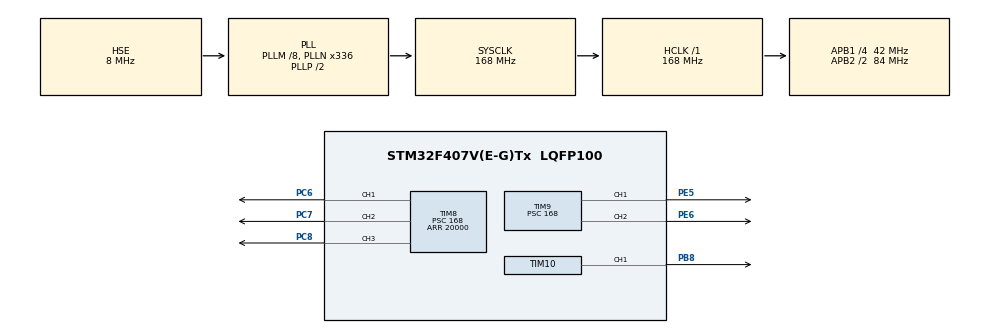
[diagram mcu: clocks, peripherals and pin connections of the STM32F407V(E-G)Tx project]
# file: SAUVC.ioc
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Mcu.Family=STM32F4
Mcu.Name=STM32F407V(E-G)Tx
Mcu.Package=LQFP100
NVIC.PriorityGroup=NVIC_PRIORITYGROUP_0
NVIC.TIM6_DAC_IRQn=true\:0\:0\:false\:false\:true\:true\:true
NVIC.TIM7_IRQn=true\:0\:0\:false\:false\:true\:true\:true
PB8.Signal=S_TIM10_CH1
PC14-OSC32_IN.Mode=LSE-External-Oscillator
PC14-OSC32_IN.Signal=RCC_OSC32_IN
PC15-OSC32_OUT.Mode=LSE-External-Oscillator
PC15-OSC32_OUT.Signal=RCC_OSC32_OUT
PC6.Signal=S_TIM8_CH1
PC7.Signal=S_TIM8_CH2
PC8.Signal=S_TIM8_CH3
PE5.Signal=S_TIM9_CH1
PE6.Signal=S_TIM9_CH2
PH0-OSC_IN.Mode=HSE-External-Oscillator
PH0-OSC_IN.Signal=RCC_OSC_IN
PH1-OSC_OUT.Mode=HSE-External-Oscillator
PH1-OSC_OUT.Signal=RCC_OSC_OUT
ProjectManager.HeapSize=0x200
ProjectManager.StackSize=0x400
ProjectManager.TargetToolchain=STM32CubeIDE
RCC.48MHZClocksFreq_Value=48000000
RCC.AHBFreq_Value=168000000
RCC.APB1CLKDivider=RCC_HCLK_DIV4
RCC.APB1Freq_Value=42000000
RCC.APB1TimFreq_Value=84000000
RCC.APB2CLKDivider=RCC_HCLK_DIV2
RCC.APB2Freq_Value=84000000
RCC.APB2TimFreq_Value=168000000
RCC.CortexFreq_Value=168000000
RCC.HCLKFreq_Value=168000000
RCC.HSE_VALUE=8000000
RCC.HSI_VALUE=16000000
RCC.PLLM=8
RCC.PLLN=336
RCC.PLLQ=7
RCC.PLLSourceVirtual=RCC_PLLSOURCE_HSE
RCC.SYSCLKFreq_VALUE=168000000
RCC.SYSCLKSource=RCC_SYSCLKSOURCE_PLLCLK
RCC.VCOOutputFreq_Value=336000000
SH.S_TIM10_CH1.0=TIM10_CH1,PWM Generation1 CH1
SH.S_TIM8_CH1.0=TIM8_CH1,PWM Generation1 CH1
SH.S_TIM8_CH2.0=TIM8_CH2,PWM Generation2 CH2
SH.S_TIM8_CH3.0=TIM8_CH3,PWM Generation3 CH3
SH.S_TIM9_CH1.0=TIM9_CH1,PWM Generation1 CH1
SH.S_TIM9_CH2.0=TIM9_CH2,PWM Generation2 CH2
TIM10.Channel=TIM_CHANNEL_1
TIM10.Period=20000
TIM10.Prescaler=168
TIM6.Period=1000
TIM6.Prescaler=1679
TIM7.Period=999
TIM7.Prescaler=83
TIM8.Channel-PWM\ Generation1\ CH1=TIM_CHANNEL_1
TIM8.Channel-PWM\ Generation2\ CH2=TIM_CHANNEL_2
TIM8.Channel-PWM\ Generation3\ CH3=TIM_CHANNEL_3
TIM8.Period=20000
TIM8.Prescaler=168
TIM9.Channel-PWM\ Generation1\ CH1=TIM_CHANNEL_1
TIM9.Channel-PWM\ Generation2\ CH2=TIM_CHANNEL_2
TIM9.Period=20000
TIM9.Prescaler=168
VP_TIM10_VS_ClockSourceINT.Mode=Enable_Timer
VP_TIM6_VS_ClockSourceINT.Mode=Enable_Timer
VP_TIM7_VS_ClockSourceINT.Mode=Enable_Timer
VP_TIM8_VS_ClockSourceINT.Mode=Internal
VP_TIM9_VS_ClockSourceINT.Mode=Internal
board=STM32F407G-DISC1

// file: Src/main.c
/* USER CODE BEGIN Header */
/**
  ******************************************************************************
  * @file           : main.c
  * @brief          : Main program body
  ******************************************************************************
  * @attention
  *
  * Copyright (c) 2022 STMicroelectronics.
  * All rights reserved.
  *
  * This software is licensed under terms that can be found in the LICENSE file
  * in the root directory of this software component.
  * If no LICENSE file comes with this software, it is provided AS-IS.
  *
  ******************************************************************************
  */
/* USER CODE END Header */
#include "main.h"

/* USER CODE BEGIN Includes */
#define CenterRight TIM10->CCR1 //PB8
#define BackRight TIM9->CCR1 //PE5
#define BackLeft TIM9->CCR2 //PE6
#define CenterLeft TIM8->CCR1 //PC6
#define FrontRight TIM8->CCR2 //PC7
#define FrontLeft TIM8->CCR3 //PC8
/* USER CODE END Includes */

TIM_HandleTypeDef htim6;
TIM_HandleTypeDef htim7;
TIM_HandleTypeDef htim8;
TIM_HandleTypeDef htim9;
TIM_HandleTypeDef htim10;

void SystemClock_Config(void);
static void MX_GPIO_Init(void);
static void MX_TIM6_Init(void);
static void MX_TIM7_Init(void);
static void MX_TIM10_Init(void);
static void MX_TIM9_Init(void);
static void MX_TIM8_Init(void);

/* USER CODE BEGIN 0 */
void maju(){

		FrontRight = 1480; //
		FrontLeft = 1480;
		BackRight = 2000;
		BackLeft = 2000;
		CenterRight = 1470;
		CenterLeft = 1480;
}
void mundur(){

		FrontRight = 1355;
		FrontLeft = 1355;
		BackRight = 1345;
		BackLeft = 1355;
		CenterRight = 1470;
		CenterLeft = 1480;
}
void atas(){
		FrontRight = 1480;
		FrontLeft = 1480;
		BackRight = 1470;
		BackLeft = 1480;
		CenterRight = 1600;
		CenterLeft = 1360;
}
void bawah(){

		FrontRight = 1480;
		FrontLeft = 1480;
		BackRight = 1470;//b
		BackLeft = 1480;
		CenterRight = 1360;
		CenterLeft = 1600;

}
void pivotR(){

		FrontRight = 1230;
		FrontLeft = 1730;
		BackRight = 1220;
		BackLeft = 1730;
		CenterRight = 1470;
		CenterLeft = 1480;
}
void pivotL(){
		FrontRight = 1600;
		FrontLeft = 1360;
		BackRight = 1590;
		BackLeft = 1360;
		CenterRight = 1470;
		CenterLeft = 1480;
}
void stop(){
		FrontRight = 1480;
		FrontLeft = 1480;
		BackRight = 1470;
		BackLeft = 1480;
		CenterRight = 1470;
		CenterLeft = 1480;
}

void tes(){
		FrontRight = 1500;
		FrontLeft = 1500;
		BackRight = 1490;
		BackLeft = 1500;
		CenterRight = 1500;
		CenterLeft = 1500;
}

/* USER CODE END 0 */

int main(void)
{

  /* MCU Configuration--------------------------------------------------------*/

  /* Reset of all peripherals, Initializes the Flash interface and the Systick. */
  HAL_Init();

  /* Configure the system clock */
  SystemClock_Config();

  /* Initialize all configured peripherals */
  MX_GPIO_Init();
  MX_TIM6_Init();
  MX_TIM7_Init();
  MX_TIM10_Init();
  MX_TIM9_Init();
  MX_TIM8_Init();
  /* USER CODE BEGIN 2 */
  HAL_TIM_PWM_Start(&htim10, TIM_CHANNEL_1);
  HAL_TIM_PWM_Start(&htim9, TIM_CHANNEL_1);
  HAL_TIM_PWM_Start(&htim9, TIM_CHANNEL_2);
  HAL_TIM_PWM_Start(&htim8, TIM_CHANNEL_1);
  HAL_TIM_PWM_Start(&htim8, TIM_CHANNEL_2);
  HAL_TIM_PWM_Start(&htim8, TIM_CHANNEL_3);
  CenterRight=1470;
  CenterLeft=1480;
  FrontRight=1480;
  FrontLeft=1480;
  BackRight=1470;
  BackLeft=1480;
  HAL_Delay(5000);
  /* USER CODE END 2 */

  /* Infinite loop */
  while (1)
  {

    /* USER CODE BEGIN 3 */
	atas();
	HAL_Delay(4000);
	stop();
	HAL_Delay(500);
	bawah();
	HAL_Delay(2500);
	stop();
	HAL_Delay(3000);
	maju();
	HAL_Delay(10000);
	stop();
	HAL_Delay(500);
	mundur();
	HAL_Delay(1000);
	stop();
	HAL_Delay(1000);
	pivotR();
	HAL_Delay(2000);
	stop();
	HAL_Delay(500);
	maju();
	HAL_Delay(10000);
	stop();
	HAL_Delay(2000);
  }
  /* USER CODE END 3 */
}

void SystemClock_Config(void)
{
  RCC_OscInitTypeDef RCC_OscInitStruct = {0};
  RCC_ClkInitTypeDef RCC_ClkInitStruct = {0};

  /** Configure the main internal regulator output voltage
  */
  __HAL_RCC_PWR_CLK_ENABLE();
  __HAL_PWR_VOLTAGESCALING_CONFIG(PWR_REGULATOR_VOLTAGE_SCALE1);
  /** Initializes the RCC Oscillators according to the specified parameters
  * in the RCC_OscInitTypeDef structure.
  */
  RCC_OscInitStruct.OscillatorType = RCC_OSCILLATORTYPE_HSE;
  RCC_OscInitStruct.HSEState = RCC_HSE_ON;
  RCC_OscInitStruct.PLL.PLLState = RCC_PLL_ON;
  RCC_OscInitStruct.PLL.PLLSource = RCC_PLLSOURCE_HSE;
  RCC_OscInitStruct.PLL.PLLM = 8;
  RCC_OscInitStruct.PLL.PLLN = 336;
  RCC_OscInitStruct.PLL.PLLP = RCC_PLLP_DIV2;
  RCC_OscInitStruct.PLL.PLLQ = 7;
  if (HAL_RCC_OscConfig(&RCC_OscInitStruct) != HAL_OK)
  {
    Error_Handler();
  }
  /** Initializes the CPU, AHB and APB buses clocks
  */
  RCC_ClkInitStruct.ClockType = RCC_CLOCKTYPE_HCLK|RCC_CLOCKTYPE_SYSCLK
                              |RCC_CLOCKTYPE_PCLK1|RCC_CLOCKTYPE_PCLK2;
  RCC_ClkInitStruct.SYSCLKSource = RCC_SYSCLKSOURCE_PLLCLK;
  RCC_ClkInitStruct.AHBCLKDivider = RCC_SYSCLK_DIV1;
  RCC_ClkInitStruct.APB1CLKDivider = RCC_HCLK_DIV4;
  RCC_ClkInitStruct.APB2CLKDivider = RCC_HCLK_DIV2;

  if (HAL_RCC_ClockConfig(&RCC_ClkInitStruct, FLASH_LATENCY_5) != HAL_OK)
  {
    Error_Handler();
  }
}

static void MX_TIM6_Init(void)
{

  TIM_MasterConfigTypeDef sMasterConfig = {0};

  htim6.Instance = TIM6;
  htim6.Init.Prescaler = 1679;
  htim6.Init.CounterMode = TIM_COUNTERMODE_UP;
  htim6.Init.Period = 1000;
  htim6.Init.AutoReloadPreload = TIM_AUTORELOAD_PRELOAD_DISABLE;
  if (HAL_TIM_Base_Init(&htim6) != HAL_OK)
  {
    Error_Handler();
  }
  sMasterConfig.MasterOutputTrigger = TIM_TRGO_RESET;
  sMasterConfig.MasterSlaveMode = TIM_MASTERSLAVEMODE_DISABLE;
  if (HAL_TIMEx_MasterConfigSynchronization(&htim6, &sMasterConfig) != HAL_OK)
  {
    Error_Handler();
  }

}

static void MX_TIM7_Init(void)
{

  TIM_MasterConfigTypeDef sMasterConfig = {0};

  htim7.Instance = TIM7;
  htim7.Init.Prescaler = 83;
  htim7.Init.CounterMode = TIM_COUNTERMODE_UP;
  htim7.Init.Period = 999;
  htim7.Init.AutoReloadPreload = TIM_AUTORELOAD_PRELOAD_DISABLE;
  if (HAL_TIM_Base_Init(&htim7) != HAL_OK)
  {
    Error_Handler();
  }
  sMasterConfig.MasterOutputTrigger = TIM_TRGO_RESET;
  sMasterConfig.MasterSlaveMode = TIM_MASTERSLAVEMODE_DISABLE;
  if (HAL_TIMEx_MasterConfigSynchronization(&htim7, &sMasterConfig) != HAL_OK)
  {
    Error_Handler();
  }

}

static void MX_TIM8_Init(void)
{

  TIM_ClockConfigTypeDef sClockSourceConfig = {0};
  TIM_MasterConfigTypeDef sMasterConfig = {0};
  TIM_OC_InitTypeDef sConfigOC = {0};
  TIM_BreakDeadTimeConfigTypeDef sBreakDeadTimeConfig = {0};

  htim8.Instance = TIM8;
  htim8.Init.Prescaler = 168;
  htim8.Init.CounterMode = TIM_COUNTERMODE_UP;
  htim8.Init.Period = 20000;
  htim8.Init.ClockDivision = TIM_CLOCKDIVISION_DIV1;
  htim8.Init.RepetitionCounter = 0;
  htim8.Init.AutoReloadPreload = TIM_AUTORELOAD_PRELOAD_DISABLE;
  if (HAL_TIM_Base_Init(&htim8) != HAL_OK)
  {
    Error_Handler();
  }
  sClockSourceConfig.ClockSource = TIM_CLOCKSOURCE_INTERNAL;
  if (HAL_TIM_ConfigClockSource(&htim8, &sClockSourceConfig) != HAL_OK)
  {
    Error_Handler();
  }
  if (HAL_TIM_PWM_Init(&htim8) != HAL_OK)
  {
    Error_Handler();
  }
  sMasterConfig.MasterOutputTrigger = TIM_TRGO_RESET;
  sMasterConfig.MasterSlaveMode = TIM_MASTERSLAVEMODE_DISABLE;
  if (HAL_TIMEx_MasterConfigSynchronization(&htim8, &sMasterConfig) != HAL_OK)
  {
    Error_Handler();
  }
  sConfigOC.OCMode = TIM_OCMODE_PWM1;
  sConfigOC.Pulse = 0;
  sConfigOC.OCPolarity = TIM_OCPOLARITY_HIGH;
  sConfigOC.OCNPolarity = TIM_OCNPOLARITY_HIGH;
  sConfigOC.OCFastMode = TIM_OCFAST_DISABLE;
  sConfigOC.OCIdleState = TIM_OCIDLESTATE_RESET;
  sConfigOC.OCNIdleState = TIM_OCNIDLESTATE_RESET;
  if (HAL_TIM_PWM_ConfigChannel(&htim8, &sConfigOC, TIM_CHANNEL_1) != HAL_OK)
  {
    Error_Handler();
  }
  if (HAL_TIM_PWM_ConfigChannel(&htim8, &sConfigOC, TIM_CHANNEL_2) != HAL_OK)
  {
    Error_Handler();
  }
  if (HAL_TIM_PWM_ConfigChannel(&htim8, &sConfigOC, TIM_CHANNEL_3) != HAL_OK)
  {
    Error_Handler();
  }
  sBreakDeadTimeConfig.OffStateRunMode = TIM_OSSR_DISABLE;
  sBreakDeadTimeConfig.OffStateIDLEMode = TIM_OSSI_DISABLE;
  sBreakDeadTimeConfig.LockLevel = TIM_LOCKLEVEL_OFF;
  sBreakDeadTimeConfig.DeadTime = 0;
  sBreakDeadTimeConfig.BreakState = TIM_BREAK_DISABLE;
  sBreakDeadTimeConfig.BreakPolarity = TIM_BREAKPOLARITY_HIGH;
  sBreakDeadTimeConfig.AutomaticOutput = TIM_AUTOMATICOUTPUT_DISABLE;
  if (HAL_TIMEx_ConfigBreakDeadTime(&htim8, &sBreakDeadTimeConfig) != HAL_OK)
  {
    Error_Handler();
  }
  HAL_TIM_MspPostInit(&htim8);

}

static void MX_TIM9_Init(void)
{

  TIM_ClockConfigTypeDef sClockSourceConfig = {0};
  TIM_OC_InitTypeDef sConfigOC = {0};

  htim9.Instance = TIM9;
  htim9.Init.Prescaler = 168;
  htim9.Init.CounterMode = TIM_COUNTERMODE_UP;
  htim9.Init.Period = 20000;
  htim9.Init.ClockDivision = TIM_CLOCKDIVISION_DIV1;
  htim9.Init.AutoReloadPreload = TIM_AUTORELOAD_PRELOAD_DISABLE;
  if (HAL_TIM_Base_Init(&htim9) != HAL_OK)
  {
    Error_Handler();
  }
  sClockSourceConfig.ClockSource = TIM_CLOCKSOURCE_INTERNAL;
  if (HAL_TIM_ConfigClockSource(&htim9, &sClockSourceConfig) != HAL_OK)
  {
    Error_Handler();
  }
  if (HAL_TIM_PWM_Init(&htim9) != HAL_OK)
  {
    Error_Handler();
  }
  sConfigOC.OCMode = TIM_OCMODE_PWM1;
  sConfigOC.Pulse = 0;
  sConfigOC.OCPolarity = TIM_OCPOLARITY_HIGH;
  sConfigOC.OCFastMode = TIM_OCFAST_DISABLE;
  if (HAL_TIM_PWM_ConfigChannel(&htim9, &sConfigOC, TIM_CHANNEL_1) != HAL_OK)
  {
    Error_Handler();
  }
  if (HAL_TIM_PWM_ConfigChannel(&htim9, &sConfigOC, TIM_CHANNEL_2) != HAL_OK)
  {
    Error_Handler();
  }
  HAL_TIM_MspPostInit(&htim9);

}

static void MX_TIM10_Init(void)
{

  TIM_OC_InitTypeDef sConfigOC = {0};

  htim10.Instance = TIM10;
  htim10.Init.Prescaler = 168;
  htim10.Init.CounterMode = TIM_COUNTERMODE_UP;
  htim10.Init.Period = 20000;
  htim10.Init.ClockDivision = TIM_CLOCKDIVISION_DIV1;
  htim10.Init.AutoReloadPreload = TIM_AUTORELOAD_PRELOAD_DISABLE;
  if (HAL_TIM_Base_Init(&htim10) != HAL_OK)
  {
    Error_Handler();
  }
  if (HAL_TIM_PWM_Init(&htim10) != HAL_OK)
  {
    Error_Handler();
  }
  sConfigOC.OCMode = TIM_OCMODE_PWM1;
  sConfigOC.Pulse = 0;
  sConfigOC.OCPolarity = TIM_OCPOLARITY_HIGH;
  sConfigOC.OCFastMode = TIM_OCFAST_DISABLE;
  if (HAL_TIM_PWM_ConfigChannel(&htim10, &sConfigOC, TIM_CHANNEL_1) != HAL_OK)
  {
    Error_Handler();
  }
  HAL_TIM_MspPostInit(&htim10);

}

static void MX_GPIO_Init(void)
{

  /* GPIO Ports Clock Enable */
  __HAL_RCC_GPIOE_CLK_ENABLE();
  __HAL_RCC_GPIOC_CLK_ENABLE();
  __HAL_RCC_GPIOH_CLK_ENABLE();
  __HAL_RCC_GPIOB_CLK_ENABLE();

}

void Error_Handler(void)
{
  __disable_irq();
  while (1)
  {
  }
}
